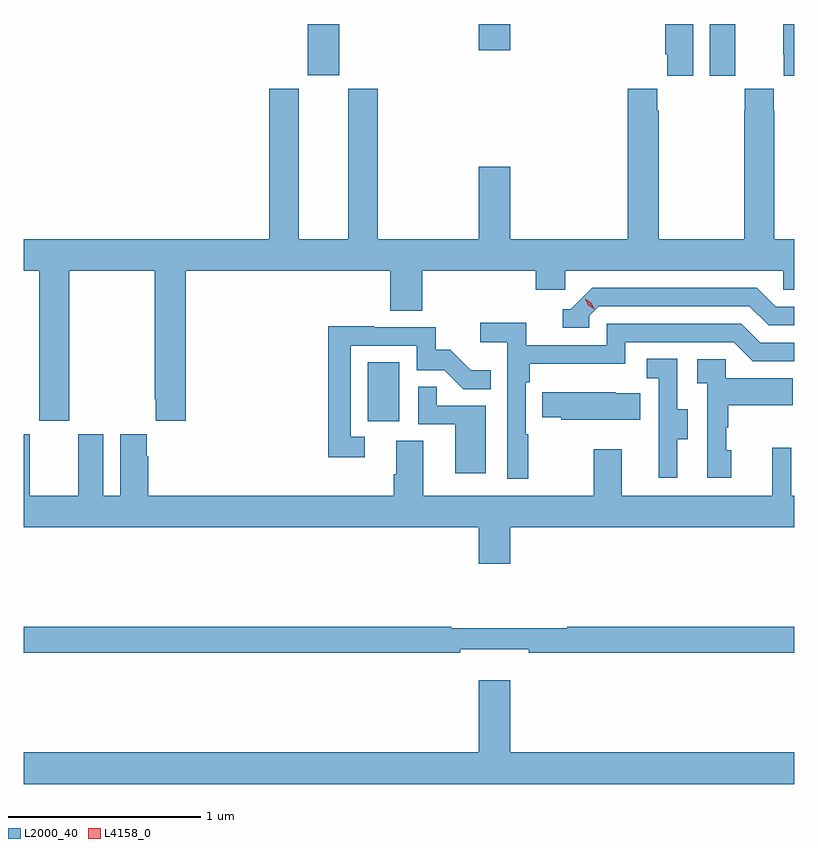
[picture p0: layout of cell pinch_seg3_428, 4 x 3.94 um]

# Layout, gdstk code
import gdstk
lib = gdstk.Library(unit=1e-6, precision=1e-09)
def R(c, l, rs):  # rectangles x0, y0, x1, y1
    for r in rs: c.add(gdstk.rectangle(r[:2], r[2:], *l))
def P(c, l, *ps):  # polygons
    for p in ps: c.add(gdstk.Polygon(p, *l))
L2000_40 = (2000, 40)
L4158_0 = (4158, 0)

pinch_seg3_428 = lib.new_cell('pinch_seg3_428')
R(pinch_seg3_428, L2000_40, [(907.688,692.142,907.852,692.449), (907.376,693.939,907.54,694.204), (908.264,694.068,908.428,694.204)])
P(pinch_seg3_428, L2000_40, [(909.376,694.204),(909.233,694.204),(909.233,694.048),(909.242,694.048),(909.242,693.936),(909.376,693.936)],
  [(909.594,694.048),(909.595,694.048),(909.595,694.204),(909.464,694.204),(909.464,693.936),(909.594,693.936)],
  [(909.902,694.204),(909.845,694.204),(909.845,694.048),(909.846,694.048),(909.846,693.936),(909.902,693.936)],
  [(906.138,692.924),(906.583,692.924),(906.583,692.257),(906.587,692.257),(906.587,692.145),(906.743,692.145),(906.743,692.924),(907.805,692.924),(907.805,692.716),(907.97,692.716),(907.97,692.924),(908.561,692.924),(908.561,692.826),(908.712,692.826),(908.712,692.924),(909.843,692.924),(909.843,692.826),(909.902,692.826),(909.902,693.088),(909.798,693.088),(909.798,693.755),(909.795,693.755),(909.795,693.868),(909.645,693.868),(909.645,693.755),(909.643,693.755),(909.643,693.088),(909.198,693.088),(909.198,693.755),(909.191,693.755),(909.191,693.868),(909.038,693.868),(909.038,693.088),(908.428,693.088),(908.428,693.463),(908.264,693.463),(908.264,693.088),(907.739,693.088),(907.739,693.867),(907.586,693.867),(907.586,693.088),(907.33,693.088),(907.33,693.867),(907.178,693.867),(907.178,693.088),(905.902,693.088),(905.902,692.924),(905.983,692.924),(905.983,692.145),(906.138,692.145)],
  [(908.838,692.691),(908.886,692.739),(909.669,692.739),(909.768,692.64),(909.902,692.64),(909.902,692.736),(909.805,692.736),(909.706,692.835),(908.853,692.835),(908.742,692.724),(908.699,692.724),(908.699,692.628),(908.838,692.628)],
  [(908.521,692.075),(908.508,692.075),(908.508,692.345),(908.528,692.345),(908.528,692.441),(909.024,692.441),(909.024,692.553),(909.588,692.553),(909.687,692.454),(909.902,692.454),(909.902,692.55),(909.724,692.55),(909.625,692.649),(908.928,692.649),(908.928,692.538),(908.51,692.538),(908.51,692.654),(908.271,692.654),(908.271,692.552),(908.412,692.552),(908.412,691.845),(908.521,691.845)],
  [(907.672,692.061),(907.599,692.061),(907.599,692.535),(907.941,692.535),(907.941,692.406),(908.085,692.406),(908.183,692.308),(908.327,692.308),(908.327,692.407),(908.223,692.407),(908.116,692.514),(908.04,692.514),(908.04,692.631),(907.721,692.631),(907.721,692.636),(907.483,692.636),(907.483,691.956),(907.672,691.956)],
  [(909.295,692.05),(909.349,692.05),(909.349,692.205),(909.294,692.205),(909.294,692.468),(909.135,692.468),(909.135,692.365),(909.198,692.365),(909.198,692.061),(909.197,692.061),(909.197,691.848),(909.295,691.848)],
  [(909.574,691.992),(909.549,691.992),(909.549,692.111),(909.559,692.111),(909.559,692.225),(909.893,692.225),(909.893,692.365),(909.546,692.365),(909.546,692.463),(909.399,692.463),(909.399,692.339),(909.45,692.339),(909.45,691.848),(909.574,691.848)],
  [(908.299,692.223),(908.045,692.223),(908.045,692.321),(907.95,692.321),(907.95,692.127),(908.141,692.127),(908.141,691.872),(908.299,691.872)],
  [(909.101,692.287),(908.976,692.287),(908.976,692.293),(908.593,692.293),(908.593,692.164),(908.691,692.164),(908.691,692.15),(909.101,692.15)],
  [(908.428,691.592),(909.902,691.592),(909.902,691.756),(909.885,691.756),(909.885,692.005),(909.788,692.005),(909.788,691.756),(909.007,691.756),(909.007,691.996),(908.86,691.996),(908.86,691.756),(907.975,691.756),(907.975,692.042),(907.835,692.042),(907.835,691.868),(907.823,691.868),(907.823,691.756),(906.548,691.756),(906.548,691.961),(906.541,691.961),(906.541,692.074),(906.404,692.074),(906.404,691.756),(906.316,691.756),(906.316,692.074),(906.185,692.074),(906.185,691.756),(905.935,691.756),(905.935,692.074),(905.902,692.074),(905.902,691.592),(908.264,691.592),(908.264,691.404),(908.428,691.404)],
  [(908.168,690.959),(908.524,690.959),(908.524,690.94),(909.902,690.94),(909.902,691.076),(908.722,691.076),(908.722,691.069),(908.122,691.069),(908.122,691.076),(905.902,691.076),(905.902,690.94),(908.168,690.94)],
  [(909.902,690.424),(908.428,690.424),(908.428,690.799),(908.264,690.799),(908.264,690.424),(905.902,690.424),(905.902,690.26),(909.902,690.26)])
P(pinch_seg3_428, L4158_0, [(908.863,692.725),(908.832,692.745),(908.816,692.778),(908.816,692.779),(908.816,692.779),(908.847,692.758),(908.863,692.726),(908.863,692.725)])

lib.write_gds('pinch_seg3_428.gds')
